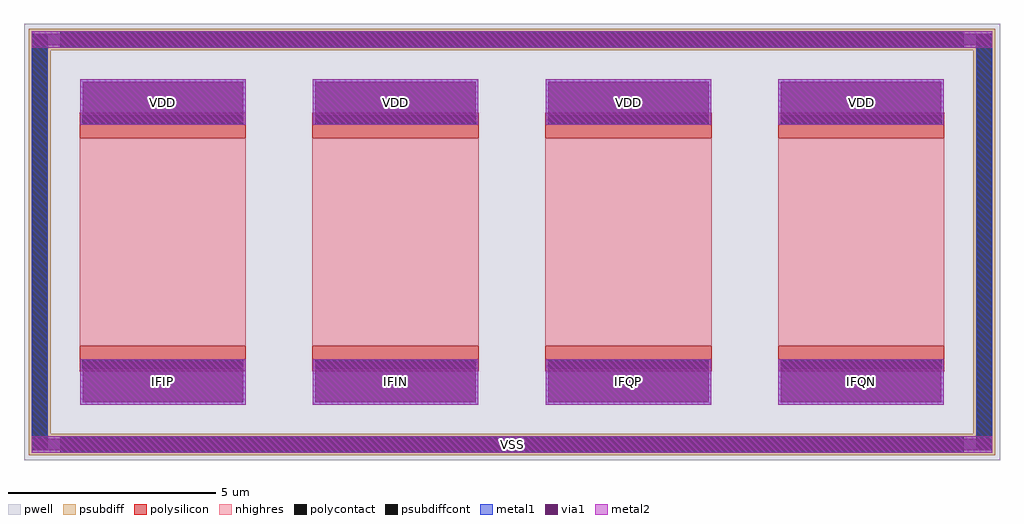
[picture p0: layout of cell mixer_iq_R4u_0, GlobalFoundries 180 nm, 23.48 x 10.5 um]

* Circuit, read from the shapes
.subckt mixer_iq_R4u_0 IFIP VDD IFIN IFQP IFQN VSS
XR1 VDD IFIP VSS ppolyf_u_1k r_width=4u r_length=5u
XR2 VDD IFIN VSS ppolyf_u_1k r_width=4u r_length=5u
XR3 VDD IFQP VSS ppolyf_u_1k r_width=4u r_length=5u
XR4 VDD IFQN VSS ppolyf_u_1k r_width=4u r_length=5u
.ends

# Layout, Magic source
magic
tech gf180mcuD
magscale 1 10
<< pwell >>
rect -668 -464 4028 1636
<< psubdiff >>
rect -644 -440 4004 -336
rect -644 1508 4004 1612
rect -644 -336 -540 1508
rect 3900 -336 4004 1508
<< polysilicon >>
rect -400 1086 400 1208
rect -400 -36 400 86
rect 720 1086 1520 1208
rect 720 -36 1520 86
rect 1840 1086 2640 1208
rect 1840 -36 2640 86
rect 2960 1086 3760 1208
rect 2960 -36 3760 86
<< nhighres >>
rect -400 86 400 1086
rect 720 86 1520 1086
rect 1840 86 2640 1086
rect 2960 86 3760 1086
<< psubdiffcont >>
rect -631 -416 -553 1588
rect 3913 -416 3991 1588
rect -493 1521 3853 1599
rect -493 -427 3853 -349
<< polycontact >>
rect -387 1149 387 1195
rect -387 -23 387 23
rect 733 1149 1507 1195
rect 733 -23 1507 23
rect 1853 1149 2627 1195
rect 1853 -23 2627 23
rect 2973 1149 3747 1195
rect 2973 -23 3747 23
<< metal1 >>
rect -398 1149 398 1195
rect -398 -23 398 23
rect 722 1149 1518 1195
rect 722 -23 1518 23
rect 1842 1149 2638 1195
rect 1842 -23 2638 23
rect 2962 1149 3758 1195
rect 2962 -23 3758 23
rect -398 -197 398 23
rect -398 1149 398 1369
rect 722 -197 1518 23
rect 722 1149 1518 1369
rect 1842 -197 2638 23
rect 1842 1149 2638 1369
rect 2962 -197 3758 23
rect 2962 1149 3758 1369
rect -631 -427 3991 -349
rect -631 1521 3991 1599
rect -631 -427 -553 1599
rect 3913 -427 3991 1599
rect -631 -427 3991 -349
rect -631 1521 3991 1599
<< metal2 >>
rect -398 -197 398 23
rect -398 1149 398 1369
rect 722 -197 1518 23
rect 722 1149 1518 1369
rect 1842 -197 2638 23
rect 1842 1149 2638 1369
rect 2962 -197 3758 23
rect 2962 1149 3758 1369
rect -631 -427 3991 -349
rect -631 1521 3991 1599
<< via1 >>
rect -386 -185 386 11
rect -386 1161 386 1357
rect 734 -185 1506 11
rect 734 1161 1506 1357
rect 1854 -185 2626 11
rect 1854 1161 2626 1357
rect 2974 -185 3746 11
rect 2974 1161 3746 1357
rect -619 -415 3979 -361
rect -619 1533 3979 1587
<< labels >>
flabel metal2 s -398 -197 398 23 0 FreeSans 80 0 0 0 IFIP
port 1 nsew signal bidirectional
flabel metal2 s -398 1149 398 1369 0 FreeSans 80 0 0 0 VDD
port 2 nsew signal bidirectional
flabel metal2 s 722 -197 1518 23 0 FreeSans 80 0 0 0 IFIN
port 3 nsew signal bidirectional
flabel metal2 s 722 1149 1518 1369 0 FreeSans 80 0 0 0 VDD
port 2 nsew signal bidirectional
flabel metal2 s 1842 -197 2638 23 0 FreeSans 80 0 0 0 IFQP
port 4 nsew signal bidirectional
flabel metal2 s 1842 1149 2638 1369 0 FreeSans 80 0 0 0 VDD
port 2 nsew signal bidirectional
flabel metal2 s 2962 -197 3758 23 0 FreeSans 80 0 0 0 IFQN
port 5 nsew signal bidirectional
flabel metal2 s 2962 1149 3758 1369 0 FreeSans 80 0 0 0 VDD
port 2 nsew signal bidirectional
flabel metal2 s -631 -427 3991 -349 0 FreeSans 80 0 0 0 VSS
port 6 nsew signal bidirectional
<< end >>
